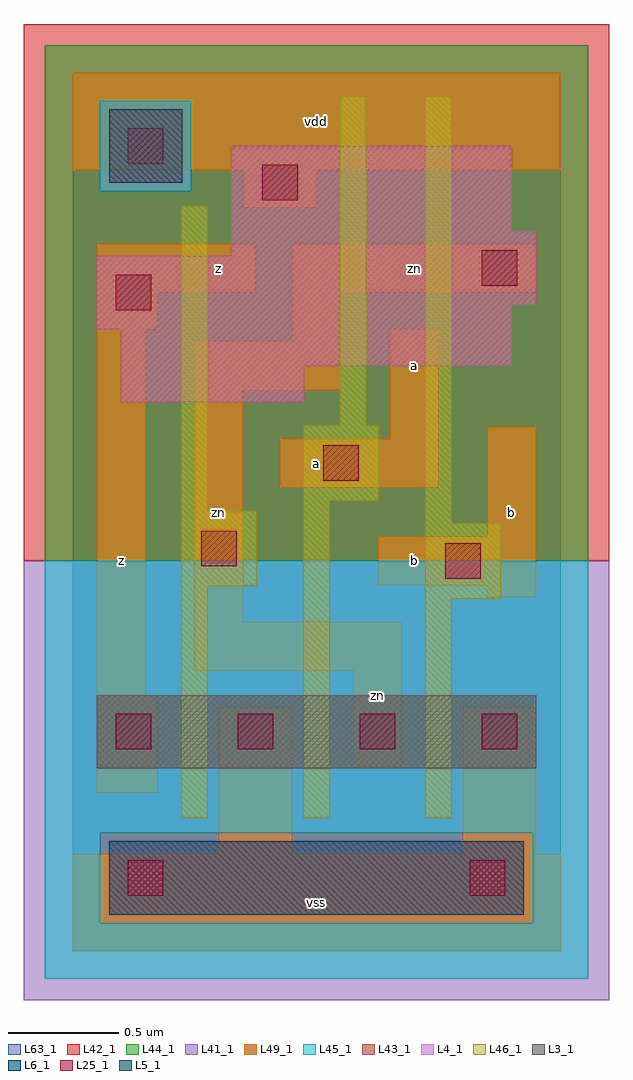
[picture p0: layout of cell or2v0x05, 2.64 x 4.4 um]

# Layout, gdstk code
import gdstk
lib = gdstk.Library(unit=1e-6, precision=1e-09)
def R(c, l, rs):  # rectangles x0, y0, x1, y1
    for r in rs: c.add(gdstk.rectangle(r[:2], r[2:], *l))
def A(c, l, x, y, w, h, nx, ny, dx, dy):  # array of equal rectangles
    R(c, l, [(x+i*dx, y+j*dy, x+i*dx+w, y+j*dy+h) for i in range(nx) for j in range(ny)])
L3_1 = (3, 1)
L4_1 = (4, 1)
L5_1 = (5, 1)
L6_1 = (6, 1)
L25_1 = (25, 1)
L41_1 = (41, 1)
L42_1 = (42, 1)
L43_1 = (43, 1)
L44_1 = (44, 1)
L45_1 = (45, 1)
L46_1 = (46, 1)
L49_1 = (49, 1)
L63_1 = (63, 1)

or2v0x05 = lib.new_cell('or2v0x05')
R(or2v0x05, L3_1, [(0.11,0.825,2.09,1.155)])
R(or2v0x05, L4_1, [(0.22,2.475,1.045,2.64), (0.22,2.64,1.98,2.805), (0.11,2.805,1.98,2.915), (0.11,2.915,2.09,3.135), (0.715,3.135,2.09,3.245), (0.715,3.245,1.98,3.63)])
R(or2v0x05, L5_1, [(0.165,3.465,0.495,3.795)])
R(or2v0x05, L6_1, [(0.165,0.165,2.035,0.495)])
A(or2v0x05, L25_1, 0.195, 0.91, 0.16, 0.16, 4, 1, 0.55, 0)
R(or2v0x05, L25_1, [(0.25,0.25,0.41,0.41), (1.79,0.25,1.95,0.41), (1.68,1.68,1.84,1.84), (0.58,1.735,0.74,1.895), (1.13,2.12,1.29,2.28), (0.195,2.89,0.355,3.05), (1.845,3,2.005,3.16), (0.855,3.385,1.015,3.545), (0.25,3.55,0.41,3.71)])
R(or2v0x05, L41_1, [(-0.22,-0.22,2.42,1.76)])
R(or2v0x05, L42_1, [(-0.22,1.76,2.42,4.18)])
R(or2v0x05, L43_1, [(0.165,0.165,2.035,0.495), (0.11,0.825,2.09,1.155), (0.22,2.475,1.045,2.64), (0.22,2.64,1.98,2.805), (0.11,2.805,1.98,2.915), (0.11,2.915,2.09,3.135), (0.715,3.135,2.09,3.245), (0.715,3.245,1.98,3.63), (0.165,3.465,0.495,3.795)])
R(or2v0x05, L44_1, [(0.125,0.125,2.075,0.535), (-0.125,1.76,2.325,3.425), (-0.125,3.425,0.125,3.835), (0.535,3.425,2.325,3.835), (-0.125,3.835,2.325,4.085)])
R(or2v0x05, L45_1, [(-0.125,-0.125,2.325,0.125), (-0.125,0.125,0.125,0.535), (2.075,0.125,2.325,0.535), (-0.125,0.535,2.325,1.76), (0.125,3.425,0.535,3.835)])
R(or2v0x05, L46_1, [(0.49,0.6,0.61,1.645), (1.04,0.6,1.16,2.03), (1.59,0.6,1.71,1.59), (1.59,1.59,1.93,1.93), (0.49,1.645,0.83,1.985), (1.59,1.93,1.71,3.855), (0.49,1.985,0.61,3.36), (1.04,2.03,1.38,2.37), (1.205,2.37,1.325,3.855)])
R(or2v0x05, L49_1, [(0,0,2.2,0.44), (0.66,0.44,0.99,1.1), (1.76,0.44,2.09,1.1), (0.11,0.715,0.385,1.155), (1.265,0.825,1.485,1.265), (0.11,1.155,0.33,2.805), (0.55,1.265,1.485,1.485), (0.55,1.485,0.77,2.53), (1.87,1.595,2.09,1.65), (1.375,1.65,2.09,1.87), (1.87,1.87,2.09,2.365), (0.935,2.09,1.65,2.31), (1.43,2.31,1.65,2.805), (0.55,2.53,1.21,2.75), (0.99,2.75,1.21,2.97), (0.11,2.805,0.385,2.97), (0.11,2.97,0.825,3.19), (0.99,2.97,2.09,3.19), (0.77,3.355,1.1,3.52), (0,3.52,2.2,3.96)])
R(or2v0x05, L63_1, [(0,0,2.2,3.96)])
or2v0x05.add(gdstk.Label('z', (0.22,1.76), layer=49, texttype=1))
or2v0x05.add(gdstk.Label('zn', (0.66,1.98), layer=49, texttype=1))
or2v0x05.add(gdstk.Label('z', (0.66,3.08), layer=49, texttype=1))
or2v0x05.add(gdstk.Label('vss', (1.1,0.22), layer=49, texttype=1))
or2v0x05.add(gdstk.Label('zn', (1.375,1.155), layer=49, texttype=1))
or2v0x05.add(gdstk.Label('b', (1.54,1.76), layer=49, texttype=1))
or2v0x05.add(gdstk.Label('a', (1.1,2.2), layer=49, texttype=1))
or2v0x05.add(gdstk.Label('a', (1.54,2.64), layer=49, texttype=1))
or2v0x05.add(gdstk.Label('vdd', (1.1,3.74), layer=49, texttype=1))
or2v0x05.add(gdstk.Label('b', (1.98,1.98), layer=49, texttype=1))
or2v0x05.add(gdstk.Label('zn', (1.54,3.08), layer=49, texttype=1))

lib.write_gds('or2v0x05.gds')
